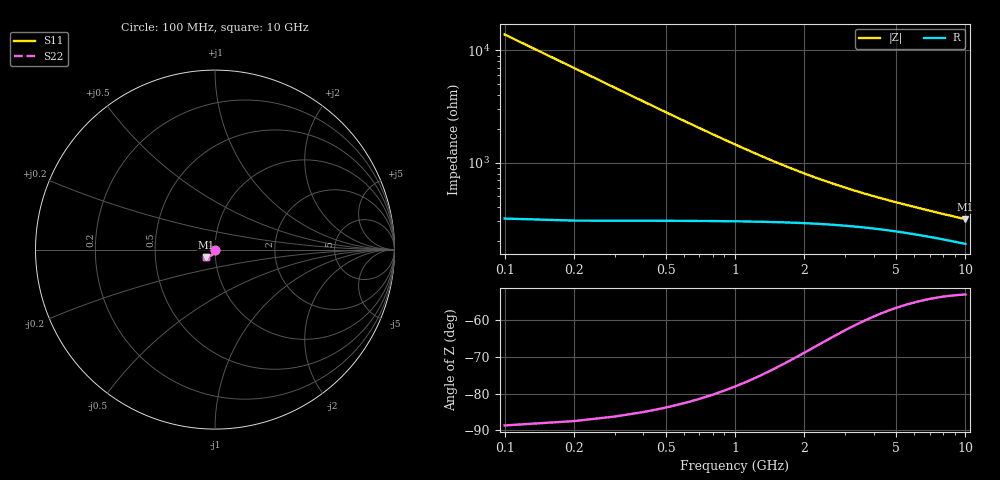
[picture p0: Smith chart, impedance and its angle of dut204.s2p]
! Touchstone file exported from HFSS 2024.1.0
!  File:  C:/UserFiles/LocalFiles/RDL_TSV_Batchsim/temp_TSV1_204_1778766950.aedt
!  Generated:  10:00:32 PM May 14, 2026
!  Design:  TSV1
!  Project:  temp_TSV1_204_1778766950
!  Setup:  Setup1
!  Solution:  Sweep
! Variables:
!  dtsv = 16.36um
!  hbump = 3um
!  htsv = 57.28um
!  lrdl = 252.1521522um
!  p = 40
!  p1 = 40.7um
!  t = 500um
!  trdl = 3um
!  wrdl = 24.89489489um
# GHz S MA R 50.000000
! Terminal data exported
! Port[1] = TSV22_T1
! Port[2] = TSV22_T2
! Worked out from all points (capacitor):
!   100 points, 100 MHz to 10 GHz, reference 50 ohm
!   read as one part in shunt: C = 114 fF near 100 MHz
!   lowest |Z| = 314 ohm at 10 GHz (marker M1)
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0.1  0.001599 -88.9  0.9999 -0.1  0.9999 -0.1  0.001599 -88.9
! Gamma 0 0 0 0
! Port Impedance 50 0 50 0
0.2  0.003192 -91.6  0.9998 -0.2  0.9998 -0.2  0.003192 -91.6
0.3  0.004777 -93.5  0.9996 -0.3  0.9996 -0.3  0.004777 -93.5
0.4  0.00635 -95.1  0.9993 -0.4  0.9993 -0.4  0.00635 -95.1
0.5  0.007906 -96.6  0.9989 -0.6  0.9989 -0.6  0.007906 -96.6
0.6  0.009442 -98.1  0.9985 -0.7  0.9985 -0.7  0.009442 -98.1
0.7  0.01096 -99.5  0.998 -0.8  0.998 -0.8  0.01096 -99.5
0.8  0.01244 -100.9  0.9974 -0.9  0.9974 -0.9  0.01244 -100.9
0.9  0.0139 -102.3  0.9968 -1.0  0.9968 -1.0  0.0139 -102.3
1.1  0.01672 -104.9  0.9954 -1.2  0.9954 -1.2  0.01672 -104.9
1.4  0.02069 -108.5  0.9932 -1.4  0.9932 -1.4  0.02069 -108.5
1.6  0.02315 -110.7  0.9915 -1.6  0.9915 -1.6  0.02315 -110.7
1.8  0.02545 -112.8  0.9899 -1.7  0.9899 -1.7  0.02545 -112.8
2.1  0.02864 -115.7  0.9874 -1.9  0.9874 -1.9  0.02864 -115.7
2.5  0.03242 -119.0  0.9842 -2.1  0.9842 -2.1  0.03242 -119.0
2.9  0.03572 -121.8  0.9811 -2.3  0.9811 -2.3  0.03572 -121.8
3.4  0.03929 -124.7  0.9777 -2.5  0.9777 -2.5  0.03929 -124.7
4.2  0.04405 -128.3  0.9729 -2.8  0.9729 -2.8  0.04405 -128.3
5.1  0.04844 -131.2  0.9683 -3.1  0.9683 -3.1  0.04844 -131.2
6.7  0.05472 -134.6  0.9618 -3.6  0.9618 -3.6  0.05472 -134.6
8.4  0.06005 -137.1  0.9565 -4.0  0.9565 -4.0  0.06005 -137.1
10  0.06415 -138.8  0.9525 -4.4  0.9525 -4.4  0.06415 -138.8
